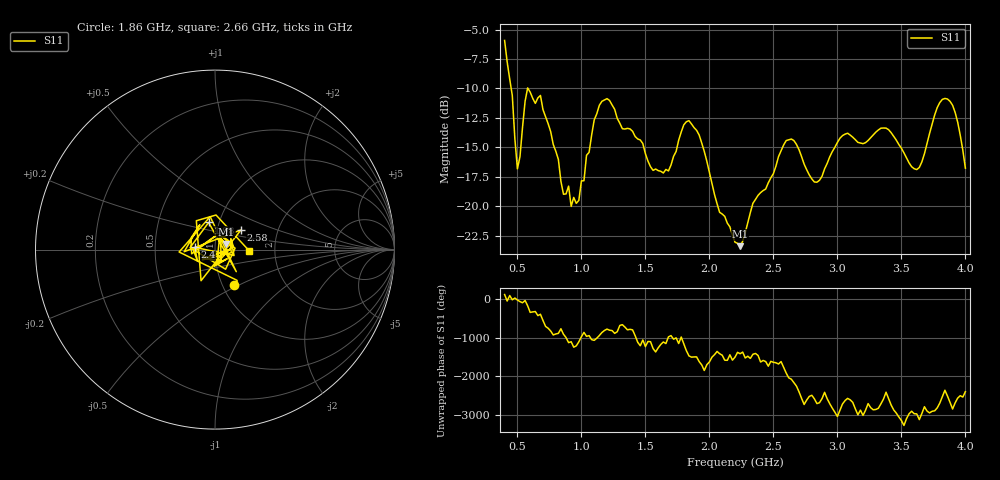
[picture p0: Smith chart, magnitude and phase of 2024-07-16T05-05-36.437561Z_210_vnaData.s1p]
!Created with skrf (http://scikit-rf.org).
# Hz S RI R 50.0
!freq ReS11 ImS11
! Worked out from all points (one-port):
!   181 points, 400 MHz to 4 GHz, reference 50 ohm
!   lowest |S11| = -23.4 dB at 2.24 GHz (marker M1), VSWR 1.15, Z = 56.2 + j3.59 ohm
!   |S11| at or under -10 dB: 451.3 MHz to 579.3 MHz (127.9 MHz wide, 24.8 % of centre); 582.3 MHz to end of sweep
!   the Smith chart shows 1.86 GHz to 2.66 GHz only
!   S11 on the Smith chart (normalised r, x): 1.86 GHz: 1.14, -0.47; 1.98 GHz: 0.89, +0.28; 2.4 GHz: 0.80, +0.02; 2.58 GHz: 1.30, +0.30; 2.66 GHz: 1.47, -0.02
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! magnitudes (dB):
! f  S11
! 400 MHz  -5.9
! 460 MHz  -10.6
! 500 MHz  -16.8
! 580 MHz  -10.0
! 680 MHz  -10.6
! 860 MHz  -19.0
! 980 MHz  -19.5
! 1.1 GHz  -12.7
! 1.16 GHz  -11.1
! 1.3 GHz  -13.0
! 1.56 GHz  -17.0
! 1.68 GHz  -17.0
! 1.76 GHz  -14.4
! 1.86 GHz  -13.0
! 1.98 GHz  -16.2
! 2.2 GHz  -23.1
! 2.24 GHz  -23.4
! 2.4 GHz  -18.8
! 2.58 GHz  -14.8
! 2.66 GHz  -14.4
! 2.84 GHz  -18.0
! 3.1 GHz  -14.0
! 3.38 GHz  -13.4
! 3.56 GHz  -16.3
! 3.64 GHz  -16.7
! 3.84 GHz  -10.8
! 3.92 GHz  -12.0
! 4 GHz  -16.8
